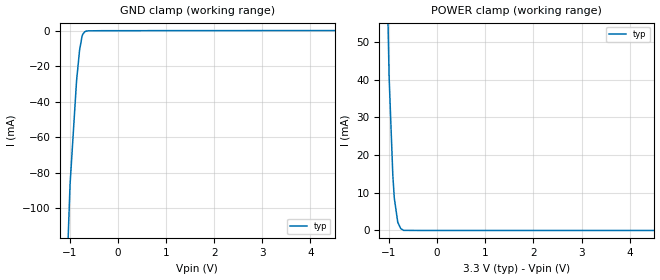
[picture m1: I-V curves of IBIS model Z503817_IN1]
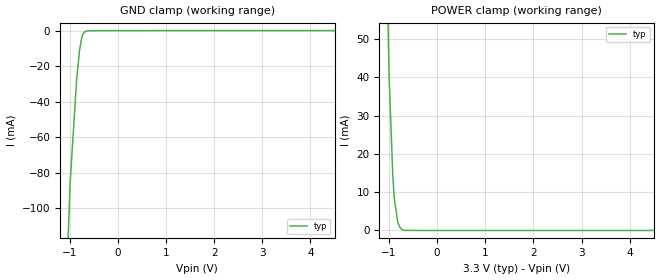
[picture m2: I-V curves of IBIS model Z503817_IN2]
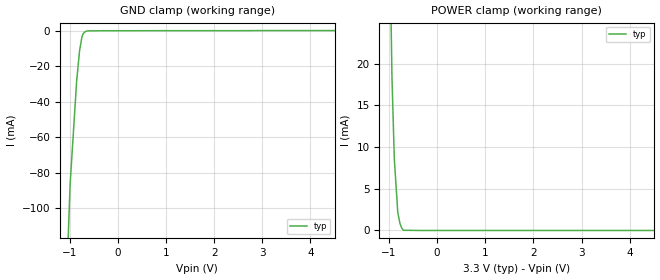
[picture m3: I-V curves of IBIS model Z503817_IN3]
| YOU ARE ONLY AUTHORIZED TO USE THIS SOFTWARE
| ACCORDING TO LICENSOR'S LICENSE RESTRICTIONS.
[IBIS Ver] 3.1
[File Name] mc74ac74n_33.ibs
[File Rev] 2.0
[Source] Measured and created by ICX Technology
[Date] Friday 7/14/00 9:08:00 AM
[Copyright]
| (C) COPYRIGHT 1993-2000
| MENTOR GRAPHICS CORPORATION
| ICX STANDARD LIBRARY, ICX PROJECT MODELING,
| ICX CUSTOM MODELING, ICX VENDOR MODEL
| ALL RIGHTS RESERVED.
| THE FOLLOWING ARE TRADEMARKS OR SERVICE MARKS OF
| MENTOR GRAPHICS CORPORATION:ICX (R), ICX STANDARD
| LIBRARY(R), ICX PROJECT MODELING(R), ICX CUSTOM
| MODELING(R), qualityIBIS(TM), MODELVIEWER(TM),
| AND MODELEDITOR(TM)
| ALL COPIES OF SOFTWARE, INCLUDING BUT NOT LIMITED TO
| ANY MODIFICATIONS, ENHANCEMENTS OR DERIVATIVE WORKS,
| MUST CONTAIN ALL MENTOR GRAPHICS CORPORATION'S
| NOTICES AND LEGENDS, INCLUDING THOSE EMBEDDED IN
| SOFTWARE AND THOSE AFFIXED TO SOFTWARE MEDIUM
| AND CONTAINER, AS RECEIVED FROM MENTOR GRAPHICS
| CORPORATION.
|  ZAP Model Builder 2.7
[Component] MC74AC74N_33
[Manufacturer] OnSemiconductor
[Package]
| variable   typ   min   max
R_pkg  .21ohms NA NA
L_pkg  4.543nH NA NA
C_pkg  1.059pF NA NA
[Pin] signal_name  model_name  R_pin  L_pin C_pin
1 _CLR Z503817_IN1 .22 6.757n 1.432p
2 D Z503817_IN2 .212 4.757n 1.142p
3 CLK Z503817_IN3 .204 3.257n .852p
4 _PRE Z503817_IN4 .196 2.257n .562p
5 Q Z503817_OUT5 .204 3.257n .852p
6 _Q Z503817_OUT5 .212 4.757n 1.142p
7 GND GND .22 6.757n 1.432p
8 _Q Z503817_OUT5 .22 6.757n 1.432p
9 Q Z503817_OUT5 .212 4.757n 1.142p
10 _PRE Z503817_IN4 .204 3.257n .852p
11 CLK Z503817_IN3 .196 2.257n .562p
12 D Z503817_IN2 .204 3.257n .852p
13 _CLR Z503817_IN1 .212 4.757n 1.142p
14 VCC POWER .22 6.757n 1.432p
| Models and submodels in the file (5): Z503817_IN1 (Input), Z503817_IN2 (Input), Z503817_IN3 (Input), Z503817_IN4 (Input), Z503817_OUT5 (Output)
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| (C) COPYRIGHT 1993-2000
| MENTOR GRAPHICS CORPORATION
| ICX STANDARD LIBRARY, ICX PROJECT MODELING,
| ICX CUSTOM MODELING, ICX VENDOR MODEL
| ALL RIGHTS RESERVED.
| THE FOLLOWING ARE TRADEMARKS OR SERVICE MARKS OF
| MENTOR GRAPHICS CORPORATION:ICX (R), ICX STANDARD
| LIBRARY(R), ICX PROJECT MODELING(R), ICX CUSTOM
| MODELING(R), qualityIBIS(TM), MODELVIEWER(TM),
| AND MODELEDITOR(TM)
| ALL COPIES OF SOFTWARE, INCLUDING BUT NOT LIMITED TO
| ANY MODIFICATIONS, ENHANCEMENTS OR DERIVATIVE WORKS,
| MUST CONTAIN ALL MENTOR GRAPHICS CORPORATION'S
| NOTICES AND LEGENDS, INCLUDING THOSE EMBEDDED IN
| SOFTWARE AND THOSE AFFIXED TO SOFTWARE MEDIUM
| AND CONTAINER, AS RECEIVED FROM MENTOR GRAPHICS
| CORPORATION.
| Model Application Version 1.89 2/18/99.
[Model] Z503817_IN1
Model_type Input
Vinl = 990.0mV
Vinh = 2.310V
C_comp 4.000pF NA NA
| variable typ   min   max
[Voltage Range] 3.300V NA NA
[GND Clamp Reference] 0.000V NA NA
[POWER Clamp Reference] 3.300V NA NA
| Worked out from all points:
|   GND clamp passes 1 mA (typ) near -0.71 V on its own axis
|   POWER clamp passes 1 mA (typ) near -0.77 V on its own axis
[GND Clamp]
-3.3V     -1.864A    NA         NA
-994.5mV  -86.69mA   NA         NA
-858.8mV  -28.04mA   NA         NA
-797.1mV  -10.97mA   NA         NA
-747.2mV  -3.233mA   NA         NA
-730.9mV  -1.833mA   NA         NA
-667.6mV  -130.4uA   NA         NA
6.6V      254.2uA    NA         NA
[POWER Clamp]
-3.3V     1.98A      NA         NA
-1.114V   114.9mA    NA         NA
-997mV    40.79mA    NA         NA
-920mV    14.67mA    NA         NA
-889mV    8.562mA    NA         NA
-817mV    2.148mA    NA         NA
-756mV    524.3uA    NA         NA
-698mV    29.4uA     NA         NA
-349mV    0A         NA         NA
6.6V      0A         NA         NA
| (C) COPYRIGHT 1993-2000
| MENTOR GRAPHICS CORPORATION
| ICX STANDARD LIBRARY, ICX PROJECT MODELING,
| ICX CUSTOM MODELING, ICX VENDOR MODEL
| ALL RIGHTS RESERVED.
| THE FOLLOWING ARE TRADEMARKS OR SERVICE MARKS OF
| MENTOR GRAPHICS CORPORATION:ICX (R), ICX STANDARD
| LIBRARY(R), ICX PROJECT MODELING(R), ICX CUSTOM
| MODELING(R), qualityIBIS(TM), MODELVIEWER(TM),
| AND MODELEDITOR(TM)
| ALL COPIES OF SOFTWARE, INCLUDING BUT NOT LIMITED TO
| ANY MODIFICATIONS, ENHANCEMENTS OR DERIVATIVE WORKS,
| MUST CONTAIN ALL MENTOR GRAPHICS CORPORATION'S
| NOTICES AND LEGENDS, INCLUDING THOSE EMBEDDED IN
| SOFTWARE AND THOSE AFFIXED TO SOFTWARE MEDIUM
| AND CONTAINER, AS RECEIVED FROM MENTOR GRAPHICS
| CORPORATION.
| Model Application Version 1.89 2/18/99.
[Model] Z503817_IN2
Model_type Input
Vinl = 990.0mV
Vinh = 2.310V
C_comp 4.000pF NA NA
| variable typ   min   max
[Voltage Range] 3.300V NA NA
[GND Clamp Reference] 0.000V NA NA
[POWER Clamp Reference] 3.300V NA NA
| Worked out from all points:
|   GND clamp passes 1 mA (typ) near -0.70 V on its own axis
|   POWER clamp passes 1 mA (typ) near -0.78 V on its own axis
[GND Clamp]
-3.3V     -1.853A    NA         NA
-994.7mV  -86.53mA   NA         NA
-858.7mV  -27.95mA   NA         NA
-797.2mV  -10.86mA   NA         NA
-747.1mV  -3.232mA   NA         NA
-730.2mV  -1.834mA   NA         NA
-687.1mV  -422.4uA   NA         NA
-610.3mV  105.7uA    NA         NA
-305.2mV  189.1uA    NA         NA
6.6V      243.1uA    NA         NA
[POWER Clamp]
-3.3V     1.859A     NA         NA
-1.103V   104.3mA    NA         NA
-997mV    40.15mA    NA         NA
-921mV    14.49mA    NA         NA
-890mV    8.426mA    NA         NA
-817mV    2.109mA    NA         NA
-774mV    834.9uA    NA         NA
-737mV    308.9uA    NA         NA
-698mV    38.6uA     NA         NA
-349mV    0A         NA         NA
6.6V      0A         NA         NA
| (C) COPYRIGHT 1993-2000
| MENTOR GRAPHICS CORPORATION
| ICX STANDARD LIBRARY, ICX PROJECT MODELING,
| ICX CUSTOM MODELING, ICX VENDOR MODEL
| ALL RIGHTS RESERVED.
| THE FOLLOWING ARE TRADEMARKS OR SERVICE MARKS OF
| MENTOR GRAPHICS CORPORATION:ICX (R), ICX STANDARD
| LIBRARY(R), ICX PROJECT MODELING(R), ICX CUSTOM
| MODELING(R), qualityIBIS(TM), MODELVIEWER(TM),
| AND MODELEDITOR(TM)
| ALL COPIES OF SOFTWARE, INCLUDING BUT NOT LIMITED TO
| ANY MODIFICATIONS, ENHANCEMENTS OR DERIVATIVE WORKS,
| MUST CONTAIN ALL MENTOR GRAPHICS CORPORATION'S
| NOTICES AND LEGENDS, INCLUDING THOSE EMBEDDED IN
| SOFTWARE AND THOSE AFFIXED TO SOFTWARE MEDIUM
| AND CONTAINER, AS RECEIVED FROM MENTOR GRAPHICS
| CORPORATION.
| Model Application Version 1.89 2/18/99.
[Model] Z503817_IN3
Model_type Input
Vinl = 990.0mV
Vinh = 2.310V
C_comp 4.000pF NA NA
| variable typ   min   max
[Voltage Range] 3.300V NA NA
[GND Clamp Reference] 0.000V NA NA
[POWER Clamp Reference] 3.300V NA NA
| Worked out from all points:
|   GND clamp passes 1 mA (typ) near -0.70 V on its own axis
|   POWER clamp passes 1 mA (typ) near -0.78 V on its own axis
[GND Clamp]
-3.3V     -1.852A    NA         NA
-993.3mV  -86.7mA    NA         NA
-857.4mV  -28.29mA   NA         NA
-796.6mV  -11.09mA   NA         NA
-747mV    -3.285mA   NA         NA
-730.1mV  -1.889mA   NA         NA
-687mV    -466.1uA   NA         NA
-648.1mV  -17.03uA   NA         NA
6.6V      264.8uA    NA         NA
[POWER Clamp]
-3.3V     1.629A     NA         NA
-1.122V   107.3mA    NA         NA
-1.01V    45.27mA    NA         NA
-938mV    18.42mA    NA         NA
-889mV    8.564mA    NA         NA
-817mV    2.169mA    NA         NA
-774mV    893.2uA    NA         NA
-737mV    315.2uA    NA         NA
-698mV    24.3uA     NA         NA
-349mV    0A         NA         NA
6.6V      0A         NA         NA
